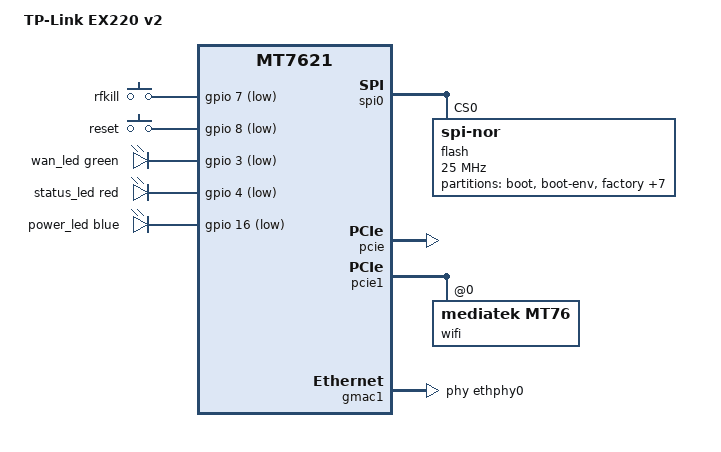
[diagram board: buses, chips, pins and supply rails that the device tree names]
// SPDX-License-Identifier: GPL-2.0-or-later OR MIT

#include "mt7621.dtsi"

#include <dt-bindings/gpio/gpio.h>
#include <dt-bindings/input/input.h>
#include <dt-bindings/leds/common.h>

/ {
	compatible = "tplink,ex220-v2", "mediatek,mt7621-soc";
	model = "TP-Link EX220 v2";

	aliases {
		led-boot = &power_led;
	        led-failsafe = &status_led;
	        led-upgrade = &power_led;
	        led-running = &wan_led;
	        label-mac-device = &gmac0;
	};

	chosen {
		bootargs = "console=ttyS0,115200";
	};

	keys {
		compatible = "gpio-keys";

		button-wps {
			label = "rfkill";
			gpios = <&gpio 7 GPIO_ACTIVE_LOW>;
			linux,code = <KEY_RFKILL>;
		};

		button-reset {
			label = "reset";
			gpios = <&gpio 8 GPIO_ACTIVE_LOW>;
			linux,code = <KEY_RESTART>;
		};
	};

	leds {
		compatible = "gpio-leds";

		wan_led: led-wan {
			function = LED_FUNCTION_WAN;
			color = <LED_COLOR_ID_GREEN>;
			gpios = <&gpio 3 GPIO_ACTIVE_LOW>;
			linux,default-trigger = "netdev";
		};

		status_led: led-status {
			function = LED_FUNCTION_STATUS;
			color = <LED_COLOR_ID_RED>;
			gpios = <&gpio 4 GPIO_ACTIVE_LOW>;
			default-state = "on";
		};

		power_led: led-power {
			function = LED_FUNCTION_POWER;
			color = <LED_COLOR_ID_BLUE>;
			gpios = <&gpio 16 GPIO_ACTIVE_LOW>;
		};
	};
};

&spi0 {
	status = "okay";

	flash@0 {
		compatible = "jedec,spi-nor";
		reg = <0>;
		spi-max-frequency = <25000000>;

		partitions {
			compatible = "fixed-partitions";
			#address-cells = <1>;
			#size-cells = <1>;

			partition@0 {
				label = "boot";
				reg = <0x00 0x30000>;
				read-only;
			};

			partition@30000 {
				label = "boot-env";
				reg = <0x30000 0x10000>;
				read-only;
			};

			partition@40000 {
				label = "factory";
				reg = <0x40000 0x10000>;
				read-only;
			};

			partition@50000 {
				label = "config";
				reg = <0x50000 0x10000>;
				read-only;
			};

			partition@60000 {
				label = "isp_config";
				reg = <0x60000 0x10000>;
				read-only;
			};

			partition@70000 {
				label = "rom_file";
				reg = <0x70000 0x10000>;
				read-only;

				nvmem-layout {
					compatible = "fixed-layout";
					#address-cells = <1>;
					#size-cells = <1>;

					macaddr_rom_file_f100: macaddr@f100 {
						compatible = "mac-base";
						reg = <0xf100 0x6>;
						#nvmem-cell-cells = <1>;
					};
				};
			};

			partition@80000 {
				label = "cloud";
				reg = <0x80000 0x10000>;
				read-only;
			};

			partition@90000 {
				label = "radio";
				reg = <0x90000 0x20000>;
				read-only;

				nvmem-layout {
					compatible = "fixed-layout";
					#address-cells = <1>;
					#size-cells = <1>;

					eeprom_radio_0: eeprom@0 {
						reg = <0x0 0xe00>;
					};

					precal_radio_e10: precal@e10 {
						reg = <0xe10 0x19c10>;
					};
				};
			};

			partition@b0000 {
				label = "config_bak";
				reg = <0xb0000 0x10000>;
				read-only;
			};

			partition@c0000 {
				compatible = "denx,fit";
				label = "firmware";
				reg = <0xc0000 0xf30000>;
			};
		};
	};
};

&pcie {
	status = "okay";
};

&pcie1 {
	wifi@0,0 {
		compatible = "mediatek,mt76";
		reg = <0x0000 0 0 0 0>;
		nvmem-cells = <&eeprom_radio_0>, <&precal_radio_e10>, <&macaddr_rom_file_f100 0>;
		nvmem-cell-names = "eeprom", "precal", "mac-address";
		mediatek,disable-radar-background;

		band@1 { 
			reg = <1>;
			nvmem-cells = <&macaddr_rom_file_f100 2>;
			nvmem-cell-names = "mac-address";
		};
	};
};

&gmac0 {
	nvmem-cells = <&macaddr_rom_file_f100 0>;
	nvmem-cell-names = "mac-address";
};

&gmac1 {
	status = "okay";
	label = "wan";
	phy-handle = <&ethphy0>;

	nvmem-cells = <&macaddr_rom_file_f100 1>;
	nvmem-cell-names = "mac-address";
};

&ethphy0 {
	/delete-property/ interrupts;
};

&switch0 {
	ports {
		port@2 {
			status = "okay";
			label = "lan1";
		};

		port@3 {
			status = "okay";
			label = "lan2";
		};

		port@4 {
			status = "okay";
			label = "lan3";
		};
	};
};

&state_default {
	gpio {
		groups = "i2c", "uart3", "jtag", "wdt";
		function = "gpio";
	};
};
